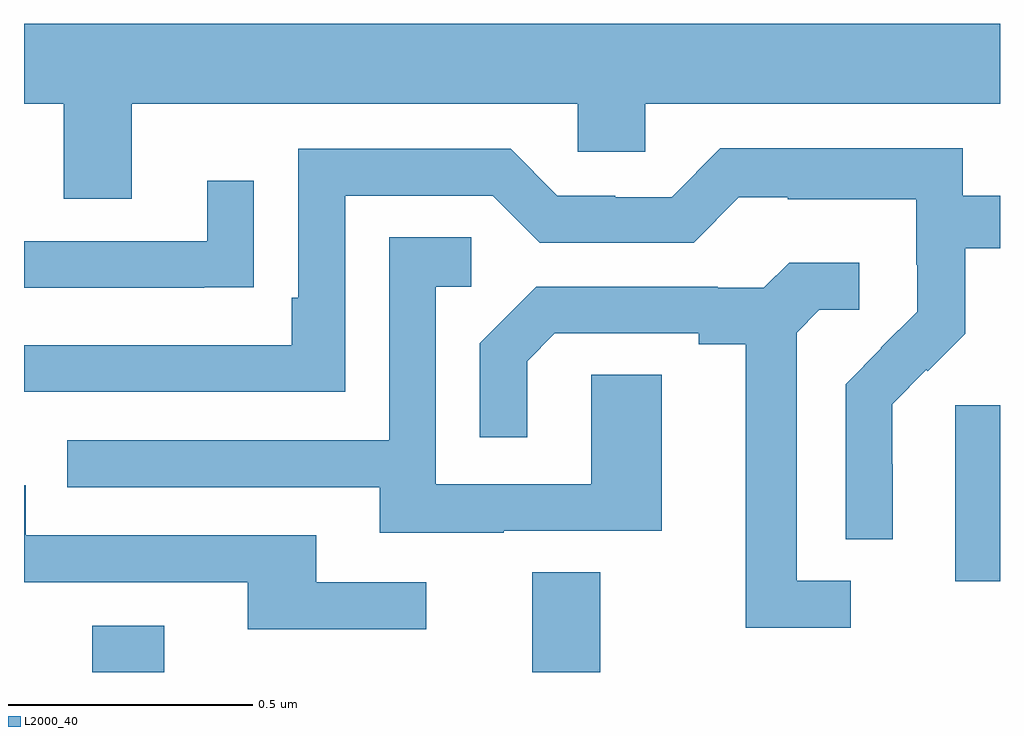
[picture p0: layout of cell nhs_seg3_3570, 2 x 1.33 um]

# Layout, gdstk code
import gdstk
lib = gdstk.Library(unit=1e-6, precision=1e-09)
def R(c, l, rs):  # rectangles x0, y0, x1, y1
    for r in rs: c.add(gdstk.rectangle(r[:2], r[2:], *l))
def P(c, l, *ps):  # polygons
    for p in ps: c.add(gdstk.Polygon(p, *l))
L2000_40 = (2000, 40)

nhs_seg3_3570 = lib.new_cell('nhs_seg3_3570')
R(nhs_seg3_3570, L2000_40, [(155.14,718.4,155.287,718.495), (156.041,718.4,156.181,718.604), (156.908,718.586,157,718.947)])
P(nhs_seg3_3570, L2000_40, [(155.221,719.564),(156.135,719.564),(156.135,719.466),(156.273,719.466),(156.273,719.564),(157,719.564),(157,719.728),(155,719.728),(155,719.564),(155.081,719.564),(155.081,719.37),(155.221,719.37)],
  [(156.78,718.826),(156.779,718.826),(156.779,718.949),(156.849,719.019),(156.852,719.016),(156.929,719.093),(156.929,719.268),(157,719.268),(157,719.376),(156.924,719.376),(156.924,719.473),(156.427,719.473),(156.327,719.373),(156.212,719.373),(156.212,719.376),(156.093,719.376),(155.997,719.472),(155.562,719.472),(155.562,719.167),(155.549,719.167),(155.549,719.07),(155,719.07),(155,718.974),(155.658,718.974),(155.658,719.376),(155.961,719.376),(156.057,719.28),(156.372,719.28),(156.465,719.373),(156.565,719.373),(156.565,719.369),(156.828,719.369),(156.828,719.235),(156.83,719.235),(156.83,719.138),(156.756,719.064),(156.757,719.063),(156.684,718.99),(156.684,718.672),(156.78,718.672)],
  [(155.369,719.188),(155.471,719.188),(155.471,719.407),(155.375,719.407),(155.375,719.283),(155,719.283),(155,719.187),(155.369,719.187)],
  [(155.983,718.689),(156.307,718.689),(156.307,719.009),(156.162,719.009),(156.162,718.785),(155.844,718.785),(155.844,719.19),(155.917,719.19),(155.917,719.291),(155.748,719.291),(155.748,718.875),(155.089,718.875),(155.089,718.779),(155.729,718.779),(155.729,718.685),(155.983,718.685)],
  [(156.694,718.587),(156.583,718.587),(156.583,719.095),(156.63,719.142),(156.712,719.142),(156.712,719.239),(156.568,719.239),(156.516,719.187),(156.422,719.187),(156.422,719.19),(156.05,719.19),(155.934,719.074),(155.934,718.881),(156.031,718.881),(156.031,719.037),(156.088,719.094),(156.383,719.094),(156.383,719.072),(156.479,719.072),(156.479,718.491),(156.694,718.491)],
  [(155.824,718.584),(155.599,718.584),(155.599,718.68),(155.004,718.68),(155.004,718.783),(155,718.783),(155,718.584),(155.459,718.584),(155.459,718.488),(155.824,718.488)])

lib.write_gds('nhs_seg3_3570.gds')
